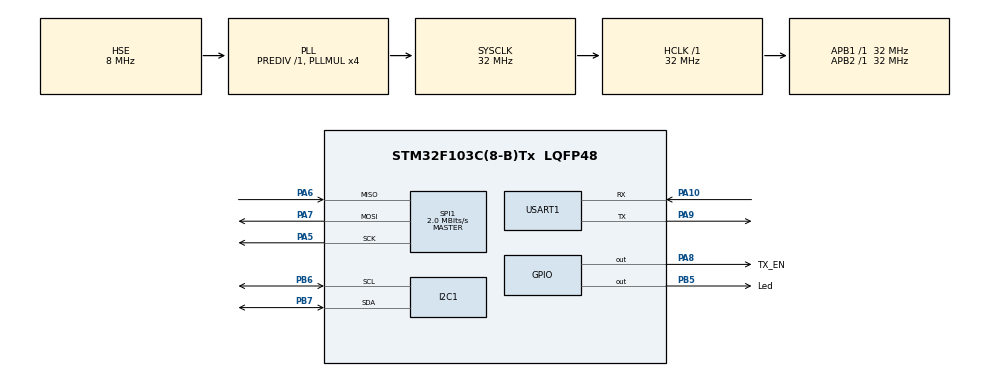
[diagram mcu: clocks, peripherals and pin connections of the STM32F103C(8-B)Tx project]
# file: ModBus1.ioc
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I2C1.I2C_Mode=I2C_Fast
Mcu.Family=STM32F1
Mcu.Name=STM32F103C(8-B)Tx
Mcu.Package=LQFP48
NVIC.PriorityGroup=NVIC_PRIORITYGROUP_4
NVIC.USART1_IRQn=true\:0\:0\:false\:false\:true\:true\:true\:true
PA10.Mode=Asynchronous
PA10.Signal=USART1_RX
PA13.Mode=Serial_Wire
PA13.Signal=SYS_JTMS-SWDIO
PA14.Mode=Serial_Wire
PA14.Signal=SYS_JTCK-SWCLK
PA5.Mode=Full_Duplex_Master
PA5.Signal=SPI1_SCK
PA6.Mode=Full_Duplex_Master
PA6.Signal=SPI1_MISO
PA7.Mode=Full_Duplex_Master
PA7.Signal=SPI1_MOSI
PA8.GPIO_Label=TX_EN
PA8.Signal=GPIO_Output
PA9.Mode=Asynchronous
PA9.Signal=USART1_TX
PB5.GPIO_Label=Led
PB5.GPIO_Speed=GPIO_SPEED_FREQ_MEDIUM
PB5.PinState=GPIO_PIN_SET
PB5.Signal=GPIO_Output
PB6.Mode=I2C
PB6.Signal=I2C1_SCL
PB7.Mode=I2C
PB7.Signal=I2C1_SDA
PD0-OSC_IN.Mode=HSE-External-Oscillator
PD0-OSC_IN.Signal=RCC_OSC_IN
PD1-OSC_OUT.Mode=HSE-External-Oscillator
PD1-OSC_OUT.Signal=RCC_OSC_OUT
ProjectManager.HeapSize=0x200
ProjectManager.StackSize=0x400
ProjectManager.TargetToolchain=STM32CubeIDE
RCC.AHBFreq_Value=32000000
RCC.APB1Freq_Value=32000000
RCC.APB1TimFreq_Value=32000000
RCC.APB2Freq_Value=32000000
RCC.APB2TimFreq_Value=32000000
RCC.HCLKFreq_Value=32000000
RCC.PLLMUL=RCC_PLL_MUL4
RCC.PLLSourceVirtual=RCC_PLLSOURCE_HSE
RCC.SYSCLKFreq_VALUE=32000000
RCC.SYSCLKSource=RCC_SYSCLKSOURCE_PLLCLK
RCC.USBFreq_Value=32000000
SPI1.BaudRatePrescaler=SPI_BAUDRATEPRESCALER_16
SPI1.CLKPhase=SPI_PHASE_2EDGE
SPI1.CalculateBaudRate=2.0 MBits/s
SPI1.Direction=SPI_DIRECTION_2LINES
SPI1.Mode=SPI_MODE_MASTER
SPI1.VirtualType=VM_MASTER
USART1.VirtualMode=VM_ASYNC
board=custom

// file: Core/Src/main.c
/* USER CODE BEGIN Header */
/**
  ******************************************************************************
  * @file           : main.c
  * @brief          : Main program body
  ******************************************************************************
  * @attention
  *
  * Copyright (c) 2022 STMicroelectronics.
  * All rights reserved.
  *
  * This software is licensed under terms that can be found in the LICENSE file
  * in the root directory of this software component.
  * If no LICENSE file comes with this software, it is provided AS-IS.
  *
  ******************************************************************************
  */
/* USER CODE END Header */
#include "main.h"

/* USER CODE BEGIN Includes */

#include "stdio.h"
#include "string.h"
#include "fonts.h"
#include "ssd1306.h"
#include <stdio.h>
#include <stdbool.h>

/* USER CODE END Includes */

I2C_HandleTypeDef hi2c1;

SPI_HandleTypeDef hspi1;

UART_HandleTypeDef huart1;

void SystemClock_Config(void);
static void MX_GPIO_Init(void);
static void MX_I2C1_Init(void);
static void MX_SPI1_Init(void);
static void MX_USART1_UART_Init(void);

/* USER CODE BEGIN 0 */

extern bool MAX31865_Sensor_Error;
uint8_t RxDat[6]; //okunan verinin kaydedildiği dizi
uint8_t TxDat[6];//gönderilmek istenilen verinin kaydedildiği dizi
// uint8_t temp [6];
char yazi[25]; //OLED ekrana yazdırabilmek için kullanılacak dizi

void sendData (uint8_t *data)//gönderme işlem fonksiyonu
{
	// Pull DE high to enable TX operation
	HAL_GPIO_WritePin(TX_EN_GPIO_Port, TX_EN_Pin, 1); //MAX485 modülünde RE/DE pinlerine(kısa devre halinda olan pinler) 1 göndererek veri yazdırmna aktif etme
	HAL_UART_Transmit(&huart1, data, strlen(data) , 1000); //veri yazdırma
	// Pull RE Low to enable RX operation
	HAL_GPIO_WritePin(TX_EN_GPIO_Port, TX_EN_Pin, 0); //veri yazdırmayı pasif etme
	//HELLOECE
}

/* USER CODE END 0 */

int main(void)
{

  /* MCU Configuration--------------------------------------------------------*/

  /* Reset of all peripherals, Initializes the Flash interface and the Systick. */
  HAL_Init();

  /* Configure the system clock */
  SystemClock_Config();

  /* Initialize all configured peripherals */
  MX_GPIO_Init();
  MX_I2C1_Init();
  MX_SPI1_Init();
  MX_USART1_UART_Init();
  /* USER CODE BEGIN 2 */

  SSD1306_Init();
  HAL_UARTEx_ReceiveToIdle_IT(&huart1, RxDat, 64); //okunan veriyi değişkene atama

  /* USER CODE END 2 */

  /* Infinite loop */
  while (1)
  {

    /* USER CODE BEGIN 3 */
	  if(RxDat [1]==48 )// okunan verinin 2.elememanını kontrol ediyor. 51 ASCII dilinde 3 e karşılık geliyor
	  		{
	  		sprintf(yazi, RxDat);
	  		 HAL_GPIO_WritePin(GPIOB, GPIO_PIN_5, GPIO_PIN_SET); // led

	  		HAL_Delay(500);
	  		HAL_UARTEx_ReceiveToIdle_IT(&huart1, RxDat, 64);
	  		}
	  else if(RxDat [1]== 49) // bu iki karşılaştırma da amaçlanan sıcaklık değerinin 30a göre durumunu değerlendirmekl
	  	  	{
	  	  		sprintf(yazi, RxDat); //gelen veriyi stringe dönüştürme
		  		 HAL_GPIO_WritePin(GPIOB, GPIO_PIN_5, GPIO_PIN_RESET); // led

	  	   		HAL_Delay(500);
	  	  		HAL_UARTEx_ReceiveToIdle_IT(&huart1, RxDat, 64);
	  	  		//send NORMAL
	  	  	}
  }
  /* USER CODE END 3 */
}

void SystemClock_Config(void)
{
  RCC_OscInitTypeDef RCC_OscInitStruct = {0};
  RCC_ClkInitTypeDef RCC_ClkInitStruct = {0};

  /** Initializes the RCC Oscillators according to the specified parameters
  * in the RCC_OscInitTypeDef structure.
  */
  RCC_OscInitStruct.OscillatorType = RCC_OSCILLATORTYPE_HSE;
  RCC_OscInitStruct.HSEState = RCC_HSE_ON;
  RCC_OscInitStruct.HSEPredivValue = RCC_HSE_PREDIV_DIV1;
  RCC_OscInitStruct.HSIState = RCC_HSI_ON;
  RCC_OscInitStruct.PLL.PLLState = RCC_PLL_ON;
  RCC_OscInitStruct.PLL.PLLSource = RCC_PLLSOURCE_HSE;
  RCC_OscInitStruct.PLL.PLLMUL = RCC_PLL_MUL4;
  if (HAL_RCC_OscConfig(&RCC_OscInitStruct) != HAL_OK)
  {
    Error_Handler();
  }

  /** Initializes the CPU, AHB and APB buses clocks
  */
  RCC_ClkInitStruct.ClockType = RCC_CLOCKTYPE_HCLK|RCC_CLOCKTYPE_SYSCLK
                              |RCC_CLOCKTYPE_PCLK1|RCC_CLOCKTYPE_PCLK2;
  RCC_ClkInitStruct.SYSCLKSource = RCC_SYSCLKSOURCE_PLLCLK;
  RCC_ClkInitStruct.AHBCLKDivider = RCC_SYSCLK_DIV1;
  RCC_ClkInitStruct.APB1CLKDivider = RCC_HCLK_DIV1;
  RCC_ClkInitStruct.APB2CLKDivider = RCC_HCLK_DIV1;

  if (HAL_RCC_ClockConfig(&RCC_ClkInitStruct, FLASH_LATENCY_1) != HAL_OK)
  {
    Error_Handler();
  }
}

static void MX_I2C1_Init(void)
{

  hi2c1.Instance = I2C1;
  hi2c1.Init.ClockSpeed = 400000;
  hi2c1.Init.DutyCycle = I2C_DUTYCYCLE_2;
  hi2c1.Init.OwnAddress1 = 0;
  hi2c1.Init.AddressingMode = I2C_ADDRESSINGMODE_7BIT;
  hi2c1.Init.DualAddressMode = I2C_DUALADDRESS_DISABLE;
  hi2c1.Init.OwnAddress2 = 0;
  hi2c1.Init.GeneralCallMode = I2C_GENERALCALL_DISABLE;
  hi2c1.Init.NoStretchMode = I2C_NOSTRETCH_DISABLE;
  if (HAL_I2C_Init(&hi2c1) != HAL_OK)
  {
    Error_Handler();
  }

}

static void MX_SPI1_Init(void)
{

  /* SPI1 parameter configuration*/
  hspi1.Instance = SPI1;
  hspi1.Init.Mode = SPI_MODE_MASTER;
  hspi1.Init.Direction = SPI_DIRECTION_2LINES;
  hspi1.Init.DataSize = SPI_DATASIZE_8BIT;
  hspi1.Init.CLKPolarity = SPI_POLARITY_LOW;
  hspi1.Init.CLKPhase = SPI_PHASE_2EDGE;
  hspi1.Init.NSS = SPI_NSS_SOFT;
  hspi1.Init.BaudRatePrescaler = SPI_BAUDRATEPRESCALER_16;
  hspi1.Init.FirstBit = SPI_FIRSTBIT_MSB;
  hspi1.Init.TIMode = SPI_TIMODE_DISABLE;
  hspi1.Init.CRCCalculation = SPI_CRCCALCULATION_DISABLE;
  hspi1.Init.CRCPolynomial = 10;
  if (HAL_SPI_Init(&hspi1) != HAL_OK)
  {
    Error_Handler();
  }

}

static void MX_USART1_UART_Init(void)
{

  huart1.Instance = USART1;
  huart1.Init.BaudRate = 115200;
  huart1.Init.WordLength = UART_WORDLENGTH_8B;
  huart1.Init.StopBits = UART_STOPBITS_1;
  huart1.Init.Parity = UART_PARITY_NONE;
  huart1.Init.Mode = UART_MODE_TX_RX;
  huart1.Init.HwFlowCtl = UART_HWCONTROL_NONE;
  huart1.Init.OverSampling = UART_OVERSAMPLING_16;
  if (HAL_UART_Init(&huart1) != HAL_OK)
  {
    Error_Handler();
  }

}

static void MX_GPIO_Init(void)
{
  GPIO_InitTypeDef GPIO_InitStruct = {0};

  /* GPIO Ports Clock Enable */
  __HAL_RCC_GPIOD_CLK_ENABLE();
  __HAL_RCC_GPIOA_CLK_ENABLE();
  __HAL_RCC_GPIOB_CLK_ENABLE();

  /*Configure GPIO pin Output Level */
  HAL_GPIO_WritePin(TX_EN_GPIO_Port, TX_EN_Pin, GPIO_PIN_RESET);

  /*Configure GPIO pin Output Level */
  HAL_GPIO_WritePin(Led_GPIO_Port, Led_Pin, GPIO_PIN_SET);

  /*Configure GPIO pin : TX_EN_Pin */
  GPIO_InitStruct.Pin = TX_EN_Pin;
  GPIO_InitStruct.Mode = GPIO_MODE_OUTPUT_PP;
  GPIO_InitStruct.Pull = GPIO_NOPULL;
  GPIO_InitStruct.Speed = GPIO_SPEED_FREQ_LOW;
  HAL_GPIO_Init(TX_EN_GPIO_Port, &GPIO_InitStruct);

  /*Configure GPIO pin : Led_Pin */
  GPIO_InitStruct.Pin = Led_Pin;
  GPIO_InitStruct.Mode = GPIO_MODE_OUTPUT_PP;
  GPIO_InitStruct.Pull = GPIO_NOPULL;
  GPIO_InitStruct.Speed = GPIO_SPEED_FREQ_MEDIUM;
  HAL_GPIO_Init(Led_GPIO_Port, &GPIO_InitStruct);

}

void Error_Handler(void)
{
  __disable_irq();
  while (1)
  {
  }
}
